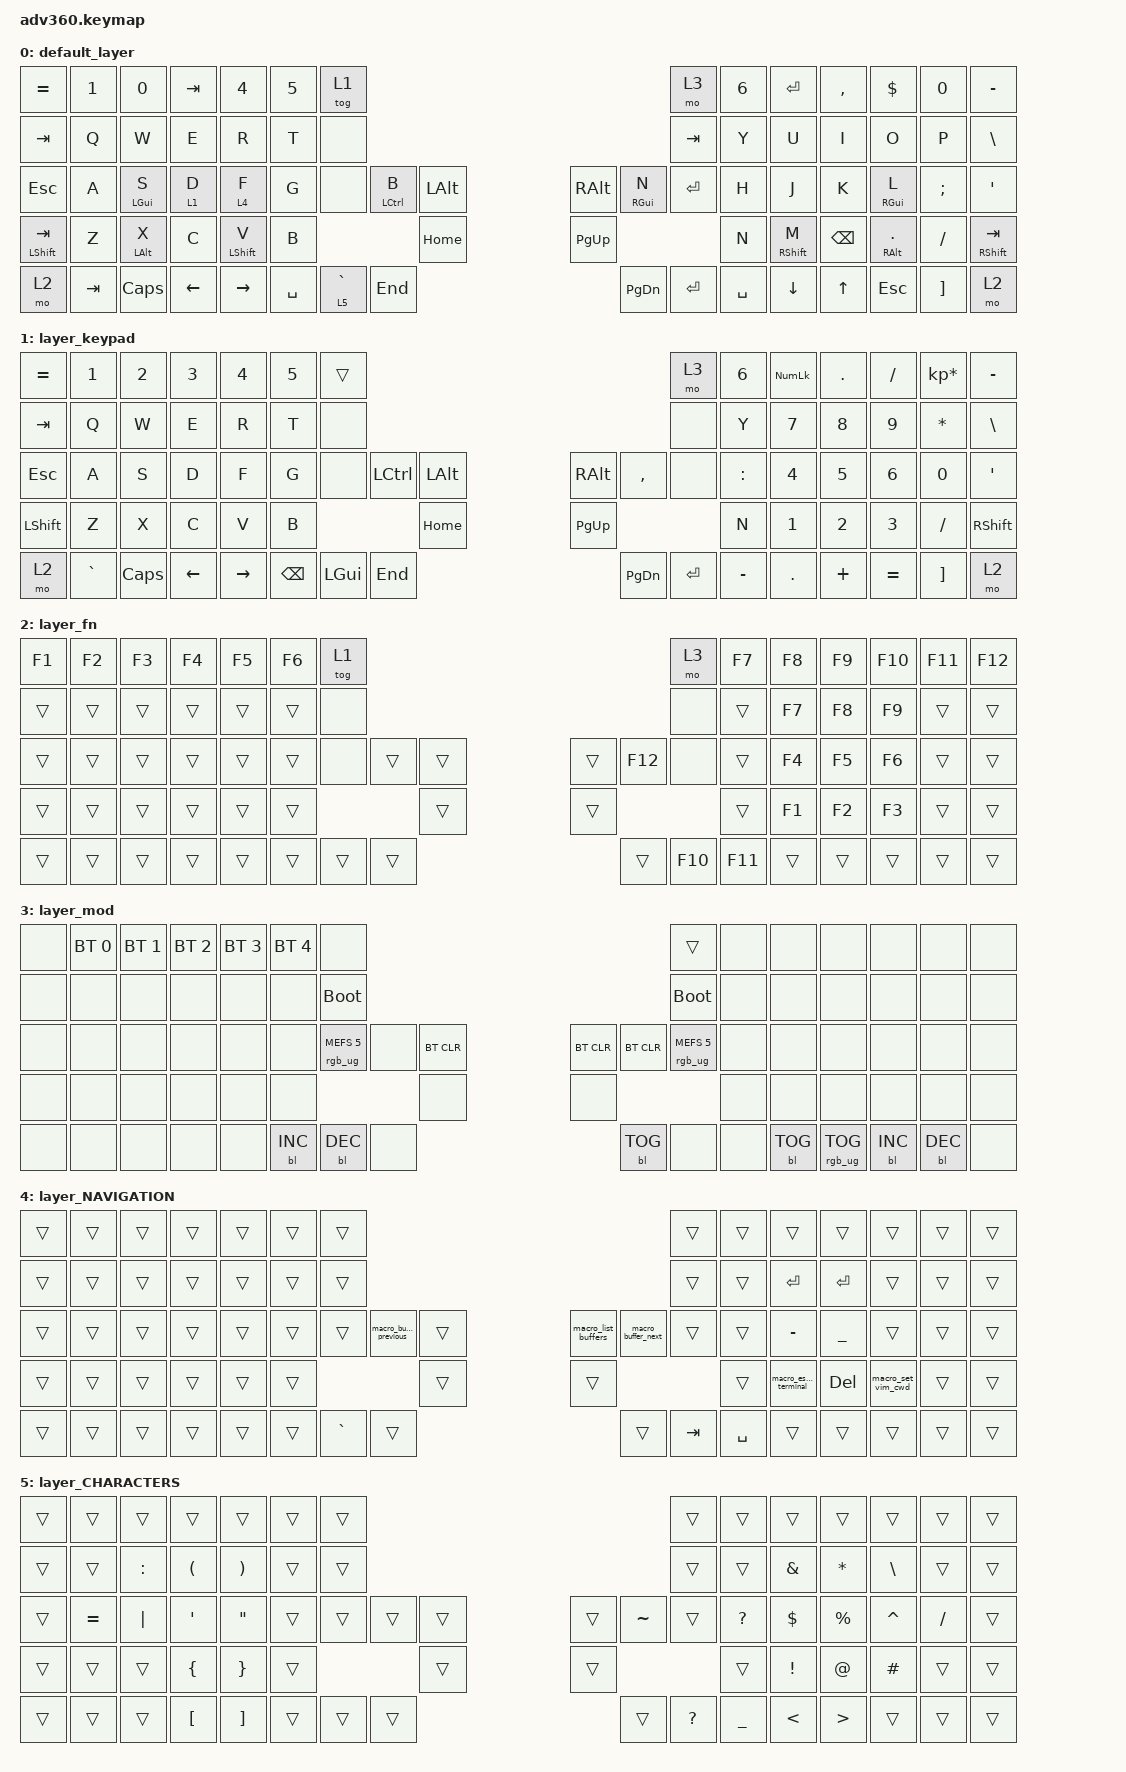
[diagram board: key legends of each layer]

/*
 * Copyright (c) 2020 The ZMK Contributors
 *
 * SPDX-License-Identifier: MIT
 */


/* THIS FILE WAS GENERATED!
 *
 * This file was generated automatically. You may or may not want to
 * edit it directly.
 */

#include <behaviors.dtsi>
#include <dt-bindings/zmk/keys.h>
#include <dt-bindings/zmk/bt.h>
#include <dt-bindings/zmk/rgb.h>
#include <dt-bindings/zmk/backlight.h>

/ {
  behaviors {
    #include "macros.dtsi"

    hm: homerow_mods {
        compatible = "zmk,behavior-hold-tap";
        label = "HOMEROW_MODS";
        #binding-cells = <2>;
        tapping-term-ms = <200>;
        quick_tap_ms = <175>;
        flavor = "tap-preferred";
        bindings = <&kp>, <&kp>;
    };
  };

    keymap {
        compatible = "zmk,keymap";


        default_layer {
            bindings = <
     &kp EQUAL   &kp N1      &kp N0   &kp TAB       &kp N4  &kp N5               &tog 1                                                                    &mo 3  &kp N6    &kp ENTER  &kp COMMA         &kp DLLR    &kp N0      &kp MINUS
       &kp TAB    &kp Q       &kp W     &kp E        &kp R   &kp T                &none                                                                  &kp TAB   &kp Y        &kp U      &kp I            &kp O     &kp P       &kp BSLH
       &kp ESC    &kp A  &mt LGUI S   &lt 1 D      &lt 4 F   &kp G                &none  &mt LCTRL B  &kp LALT                   &kp RALT  &mt RGUI N  &kp ENTER   &kp H        &kp J      &kp K       &mt RGUI L  &kp SEMI        &kp SQT
 &mt LSHFT TAB    &kp Z  &mt LALT X     &kp C  &mt LSHFT V   &kp B                                    &kp HOME                  &kp PG_UP                          &kp N  &mt RSHFT M   &kp BSPC  &mt RALT PERIOD  &kp FSLH  &mt RSHFT TAB
         &mo 2  &kp TAB    &kp CAPS  &kp LEFT    &kp RIGHT                    &kp SPACE  &lt 5 GRAVE   &kp END                  &kp PG_DN   &kp ENTER  &kp SPACE             &kp DOWN     &kp UP          &kp ESC  &kp RBKT          &mo 2
            >;
        };

        layer_keypad {
            bindings = <
 &kp EQUAL     &kp N1    &kp N2    &kp N3     &kp N4  &kp N5              &trans                                                                 &mo 3     &kp N6  &kp KP_NUM  &kp PERIOD  &kp SLASH  &kp KP_MULTIPLY  &kp MINUS
   &kp TAB      &kp Q     &kp W     &kp E      &kp R   &kp T               &none                                                                 &none      &kp Y      &kp N7      &kp N8     &kp N9         &kp STAR   &kp BSLH
   &kp ESC      &kp A     &kp S     &kp D      &kp F   &kp G               &none  &kp LCTRL  &kp LALT                   &kp RALT  &kp COMMA      &none  &kp COLON      &kp N4      &kp N5     &kp N6           &kp N0    &kp SQT
 &kp LSHFT      &kp Z     &kp X     &kp C      &kp V   &kp B                                 &kp HOME                  &kp PG_UP                            &kp N      &kp N1      &kp N2     &kp N3         &kp FSLH  &kp RSHFT
     &mo 2  &kp GRAVE  &kp CAPS  &kp LEFT  &kp RIGHT                    &kp BSPC   &kp LGUI   &kp END                  &kp PG_DN  &kp ENTER  &kp MINUS                &kp DOT    &kp PLUS  &kp EQUAL         &kp RBKT      &mo 2
            >;
        };

        layer_fn {
            bindings = <
 &kp F1  &kp F2  &kp F3  &kp F4  &kp F5  &kp F6            &tog 1                                                     &mo 3  &kp F7  &kp F8  &kp F9  &kp F10  &kp F11  &kp F12
 &trans  &trans  &trans  &trans  &trans  &trans             &none                                                     &none  &trans  &kp F7  &kp F8   &kp F9   &trans   &trans
 &trans  &trans  &trans  &trans  &trans  &trans             &none  &trans  &trans                  &trans  &kp F12    &none  &trans  &kp F4  &kp F5   &kp F6   &trans   &trans
 &trans  &trans  &trans  &trans  &trans  &trans                            &trans                  &trans                    &trans  &kp F1  &kp F2   &kp F3   &trans   &trans
 &trans  &trans  &trans  &trans  &trans                    &trans  &trans  &trans                  &trans  &kp F10  &kp F11          &trans  &trans   &trans   &trans   &trans
            >;
        };

        layer_mod {
            bindings = <
  &none  &bt BT_SEL 0  &bt BT_SEL 1  &bt BT_SEL 2  &bt BT_SEL 3  &bt BT_SEL 4                             &none                                                                                  &trans   &none       &none            &none       &none       &none   &none
  &none         &none         &none         &none         &none         &none                       &bootloader                                                                             &bootloader   &none       &none            &none       &none       &none   &none
  &none         &none         &none         &none         &none         &none            &rgb_ug RGB_MEFS_CMD 5       &none  &bt BT_CLR                  &bt BT_CLR  &bt BT_CLR  &rgb_ug RGB_MEFS_CMD 5   &none       &none            &none       &none       &none   &none
  &none         &none         &none         &none         &none         &none                                                     &none                       &none                                       &none       &none            &none       &none       &none   &none
  &none         &none         &none         &none         &none                                      &bl BL_INC  &bl BL_DEC       &none                  &bl BL_TOG       &none                   &none          &bl BL_TOG  &rgb_ug RGB_TOG  &bl BL_INC  &bl BL_DEC   &none
            >;
        };

        layer_NAVIGATION {
            bindings = <
 &trans  &trans  &trans  &trans  &trans  &trans            &trans                                                                                              &trans  &trans                  &trans      &trans              &trans  &trans  &trans
 &trans  &trans  &trans  &trans  &trans  &trans            &trans                                                                                              &trans  &trans               &kp ENTER   &kp ENTER              &trans  &trans  &trans
 &trans  &trans  &trans  &trans  &trans  &trans            &trans  &macro_buffer_previous  &trans                  &macro_list_buffers  &macro_buffer_next     &trans  &trans               &kp MINUS   &kp UNDER              &trans  &trans  &trans
 &trans  &trans  &trans  &trans  &trans  &trans                                            &trans                               &trans                                 &trans  &macro_escape_terminal  &kp DELETE  &macro_set_vim_cwd  &trans  &trans
 &trans  &trans  &trans  &trans  &trans                    &trans               &kp GRAVE  &trans                               &trans             &kp TAB  &kp SPACE                          &trans      &trans              &trans  &trans  &trans
            >;
        };

        layer_CHARACTERS {
            bindings = <
 &trans     &trans     &trans            &trans             &trans  &trans            &trans                                                                &trans        &trans           &trans            &trans     &trans    &trans  &trans
 &trans     &trans  &kp COLON          &kp LPAR           &kp RPAR  &trans            &trans                                                                &trans        &trans    &kp AMPERSAND      &kp ASTERISK   &kp BSLH    &trans  &trans
 &trans  &kp EQUAL   &kp PIPE    &kp APOSTROPHE  &kp DOUBLE_QUOTES  &trans            &trans  &trans  &trans                  &trans     &kp TILDE          &trans  &kp QUESTION       &kp DOLLAR       &kp PERCENT  &kp CARET  &kp FSLH  &trans
 &trans     &trans     &trans    &kp LEFT_BRACE    &kp RIGHT_BRACE  &trans                            &trans                  &trans                                      &trans  &kp EXCLAMATION       &kp AT_SIGN   &kp HASH    &trans  &trans
 &trans     &trans     &trans  &kp LEFT_BRACKET  &kp RIGHT_BRACKET                    &trans  &trans  &trans                  &trans  &kp QUESTION  &kp UNDERSCORE                  &kp LESS_THAN  &kp GREATER_THAN     &trans    &trans  &trans
            >;
        };

    };
};
